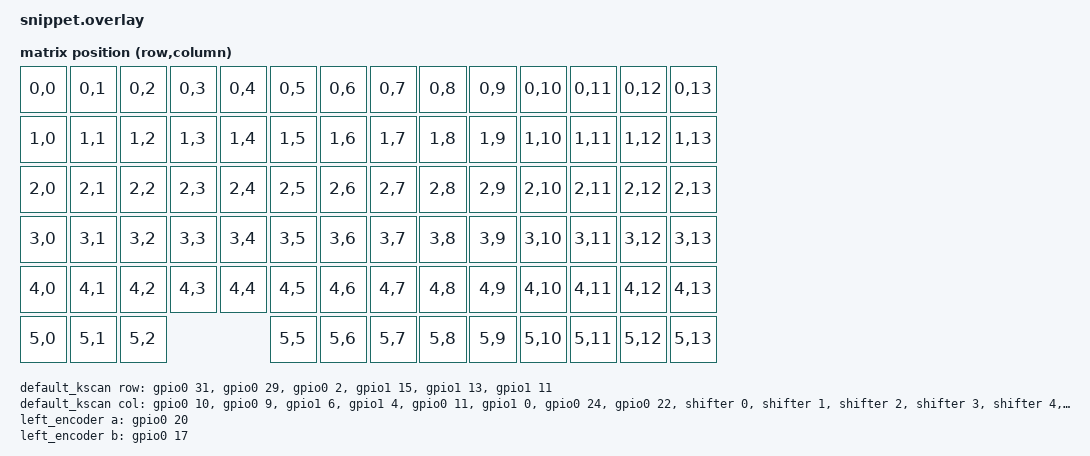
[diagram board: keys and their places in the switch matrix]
#include <dt-bindings/zmk/matrix_transform.h>

&pinctrl {
    spi0_default: spi0_default {
        group1 {
            psels = <NRF_PSEL(SPIM_MOSI, 1, 7)>,
                    <NRF_PSEL(SPIM_SCK,  1, 1)>;
        };
    };
    spi0_sleep: spi0_sleep {
        group1 {
            psels = <NRF_PSEL(SPIM_MOSI, 1, 7)>,
                    <NRF_PSEL(SPIM_SCK,  1, 1)>;
            low-power-enable;
        };
    };
    i2c1_default: i2c1_default {
        group1 {
            psels = <NRF_PSEL(TWIM_SDA, 0, 20)>,
                    <NRF_PSEL(TWIM_SCL, 0, 17)>;
        };
    };
    i2c1_sleep: i2c1_sleep {
        group1 {
            psels = <NRF_PSEL(TWIM_SDA, 0, 17)>,
                    <NRF_PSEL(TWIM_SCL, 0, 20)>;
            low-power-enable;
        };
    };
};

&spi0 {
    status = "okay";
    pinctrl-0 = <&spi0_default>;
    pinctrl-1 = <&spi0_sleep>;
    pinctrl-names = "default", "sleep";
    cs-gpios = <&gpio1 2 GPIO_ACTIVE_LOW>;          /* STCP - P1.02 */

    shifter: 595@0 {
        compatible = "zmk,gpio-595";
        status = "okay";
        gpio-controller;
        spi-max-frequency = <200000>;
        reg = <0>;
        #gpio-cells = <2>;
        ngpios = <8>;
    };
};

&i2c1 {                              /* changed from i2c0 */
    status = "okay";
    pinctrl-0 = <&i2c1_default>;     /* changed */
    pinctrl-1 = <&i2c1_sleep>;       /* changed */
    pinctrl-names = "default", "sleep";

    oled: ssd1306@3c {
        compatible = "solomon,ssd1306fb";
        reg = <0x3c>;
        width = <128>;
        height = <64>;
        segment-offset = <0>;
        page-offset = <0>;
        display-offset = <0>;
        multiplex-ratio = <63>;
        segment-remap;
        com-invdir;
        prechargep = <0x22>;
    };
};

/ {
    chosen {
        zmk,kscan = &default_kscan;
        zmk,matrix_transform = &default_transform;
        zephyr,display = &oled;
    };

    default_kscan: kscan {
        compatible = "zmk,kscan-gpio-matrix";
        label = "default_kscan";
        diode-direction = "col2row";

        row-gpios = <&gpio0 31 (GPIO_ACTIVE_HIGH | GPIO_PULL_DOWN)>
                  , <&gpio0 29 (GPIO_ACTIVE_HIGH | GPIO_PULL_DOWN)>
                  , <&gpio0 2  (GPIO_ACTIVE_HIGH | GPIO_PULL_DOWN)>
                  , <&gpio1 15 (GPIO_ACTIVE_HIGH | GPIO_PULL_DOWN)>
                  , <&gpio1 13 (GPIO_ACTIVE_HIGH | GPIO_PULL_DOWN)>
                  , <&gpio1 11 (GPIO_ACTIVE_HIGH | GPIO_PULL_DOWN)>
                  ;

        col-gpios = <&gpio0 10  GPIO_ACTIVE_HIGH>
                  , <&gpio0 9  GPIO_ACTIVE_HIGH>
                  , <&gpio1 6 GPIO_ACTIVE_HIGH>
                  , <&gpio1 4 GPIO_ACTIVE_HIGH>
                  , <&gpio0 11 GPIO_ACTIVE_HIGH>
                  , <&gpio1 0 GPIO_ACTIVE_HIGH>
                  , <&gpio0 24  GPIO_ACTIVE_HIGH>
                  , <&gpio0 22 GPIO_ACTIVE_HIGH>
                  , <&shifter 0 GPIO_ACTIVE_HIGH>
                  , <&shifter 1 GPIO_ACTIVE_HIGH>
                  , <&shifter 2 GPIO_ACTIVE_HIGH>
                  , <&shifter 3 GPIO_ACTIVE_HIGH>
                  , <&shifter 4 GPIO_ACTIVE_HIGH>
                  , <&shifter 5 GPIO_ACTIVE_HIGH>
                  ;
    };

    default_transform: matrix_transform {
        compatible = "zmk,matrix-transform";
        rows = <6>;
        columns = <14>;

        map = <
            RC(0,0)  RC(0,1)  RC(0,2)  RC(0,3)  RC(0,4)  RC(0,5)  RC(0,6)  RC(0,7)  RC(0,8)  RC(0,9)  RC(0,10) RC(0,11) RC(0,12) RC(0,13) 
            RC(1,0)  RC(1,1)  RC(1,2)  RC(1,3)  RC(1,4)  RC(1,5)  RC(1,6)  RC(1,7)  RC(1,8)  RC(1,9)  RC(1,10) RC(1,11) RC(1,12) RC(1,13) 
            RC(2,0)  RC(2,1)  RC(2,2)  RC(2,3)  RC(2,4)  RC(2,5)  RC(2,6)  RC(2,7)  RC(2,8)  RC(2,9)  RC(2,10) RC(2,11) RC(2,12) RC(2,13) 
            RC(3,0)  RC(3,1)  RC(3,2)  RC(3,3)  RC(3,4)  RC(3,5)  RC(3,6)  RC(3,7)  RC(3,8)  RC(3,9)  RC(3,10) RC(3,11) RC(3,12) RC(3,13) 
            RC(4,0)  RC(4,1)  RC(4,2)  RC(4,3)  RC(4,4)  RC(4,5)  RC(4,6)  RC(4,7)  RC(4,8)  RC(4,9)  RC(4,10) RC(4,11) RC(4,12) RC(4,13) 
            RC(5,0)  RC(5,1)  RC(5,2)                    RC(5,5)  RC(5,6)  RC(5,7)  RC(5,8)  RC(5,9)  RC(5,10) RC(5,11) RC(5,12) RC(5,13)
        >;
    };

    left_encoder: encoder_left {
        compatible = "alps,ec11";
        a-gpios = <&gpio0 20 (GPIO_ACTIVE_HIGH | GPIO_PULL_UP)>;
        b-gpios = <&gpio0 17 (GPIO_ACTIVE_HIGH | GPIO_PULL_UP)>;
        steps = <80>;
        status = "okay";
    };

    sensors: sensors {
        compatible = "zmk,keymap-sensors";
        sensors = <&left_encoder>;
        triggers-per-rotation = <20>;
    };
};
